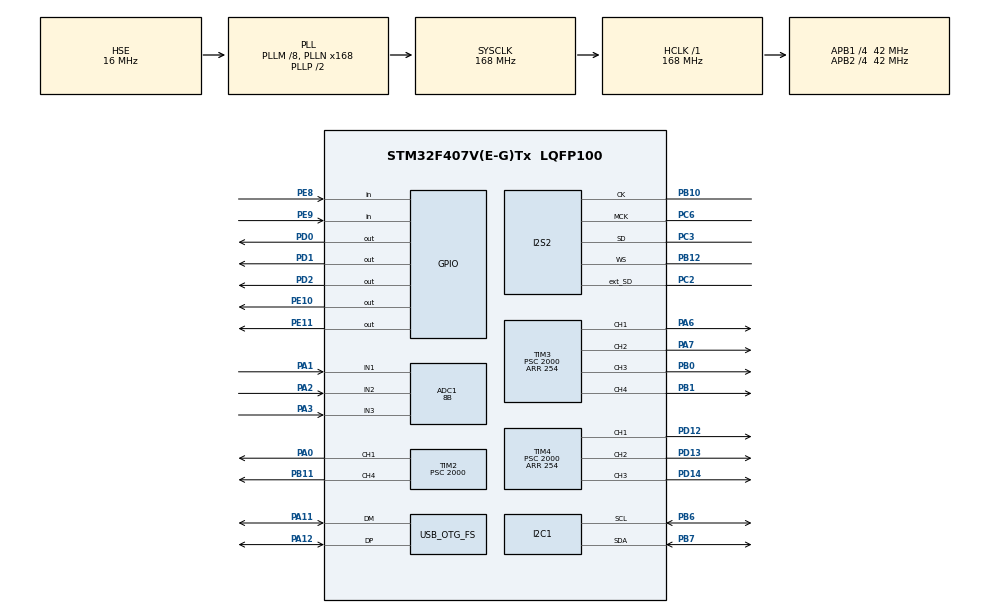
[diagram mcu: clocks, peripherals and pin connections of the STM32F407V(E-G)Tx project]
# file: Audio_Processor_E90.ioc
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ADC1.Channel-4\#ChannelRegularConversion=ADC_CHANNEL_1
ADC1.Channel-5\#ChannelRegularConversion=ADC_CHANNEL_2
ADC1.Channel-6\#ChannelRegularConversion=ADC_CHANNEL_3
ADC1.ContinuousConvMode=ENABLE
ADC1.DMAContinuousRequests=ENABLE
ADC1.NbrOfConversion=3
ADC1.NbrOfConversionFlag=1
ADC1.Rank-4\#ChannelRegularConversion=1
ADC1.Rank-5\#ChannelRegularConversion=2
ADC1.Rank-6\#ChannelRegularConversion=3
ADC1.Resolution=ADC_RESOLUTION_8B
ADC1.SamplingTime-4\#ChannelRegularConversion=ADC_SAMPLETIME_480CYCLES
ADC1.SamplingTime-5\#ChannelRegularConversion=ADC_SAMPLETIME_480CYCLES
ADC1.SamplingTime-6\#ChannelRegularConversion=ADC_SAMPLETIME_480CYCLES
ADC1.ScanConvMode=ENABLE
ADC1.master=1
Dma.ADC1.2.Direction=DMA_PERIPH_TO_MEMORY
Dma.ADC1.2.FIFOMode=DMA_FIFOMODE_DISABLE
Dma.ADC1.2.Instance=DMA2_Stream0
Dma.ADC1.2.MemDataAlignment=DMA_MDATAALIGN_WORD
Dma.ADC1.2.MemInc=DMA_MINC_ENABLE
Dma.ADC1.2.Mode=DMA_CIRCULAR
Dma.ADC1.2.PeriphDataAlignment=DMA_PDATAALIGN_WORD
Dma.ADC1.2.PeriphInc=DMA_PINC_DISABLE
Dma.ADC1.2.Priority=DMA_PRIORITY_LOW
Dma.I2S2_EXT_RX.0.Direction=DMA_PERIPH_TO_MEMORY
Dma.I2S2_EXT_RX.0.FIFOMode=DMA_FIFOMODE_DISABLE
Dma.I2S2_EXT_RX.0.Instance=DMA1_Stream3
Dma.I2S2_EXT_RX.0.MemDataAlignment=DMA_MDATAALIGN_HALFWORD
Dma.I2S2_EXT_RX.0.MemInc=DMA_MINC_ENABLE
Dma.I2S2_EXT_RX.0.Mode=DMA_CIRCULAR
Dma.I2S2_EXT_RX.0.PeriphDataAlignment=DMA_PDATAALIGN_HALFWORD
Dma.I2S2_EXT_RX.0.PeriphInc=DMA_PINC_DISABLE
Dma.I2S2_EXT_RX.0.Priority=DMA_PRIORITY_LOW
Dma.Request0=I2S2_EXT_RX
Dma.Request1=SPI2_TX
Dma.Request2=ADC1
Dma.SPI2_TX.1.Direction=DMA_MEMORY_TO_PERIPH
Dma.SPI2_TX.1.FIFOMode=DMA_FIFOMODE_DISABLE
Dma.SPI2_TX.1.Instance=DMA1_Stream4
Dma.SPI2_TX.1.MemDataAlignment=DMA_MDATAALIGN_HALFWORD
Dma.SPI2_TX.1.MemInc=DMA_MINC_ENABLE
Dma.SPI2_TX.1.Mode=DMA_CIRCULAR
Dma.SPI2_TX.1.PeriphDataAlignment=DMA_PDATAALIGN_HALFWORD
Dma.SPI2_TX.1.PeriphInc=DMA_PINC_DISABLE
Dma.SPI2_TX.1.Priority=DMA_PRIORITY_LOW
I2S2.AudioFreq=I2S_AUDIOFREQ_48K
I2S2.DataFormat=I2S_DATAFORMAT_24B
I2S2.ErrorAudioFreq=-2.34 %
I2S2.FullDuplexMode=I2S_FULLDUPLEXMODE_ENABLE
I2S2.Instance=SPI$Index
I2S2.RealAudioFreq=46.875 KHz
I2S2.VirtualMode=I2S_MODE_MASTER
Mcu.Family=STM32F4
Mcu.Name=STM32F407V(E-G)Tx
Mcu.Package=LQFP100
NVIC.ADC_IRQn=true\:0\:0\:false\:false\:true\:true\:true
NVIC.DMA1_Stream3_IRQn=true\:0\:0\:false\:false\:true\:false\:true
NVIC.DMA1_Stream4_IRQn=true\:0\:0\:false\:false\:true\:false\:true
NVIC.DMA2_Stream0_IRQn=true\:0\:0\:false\:false\:true\:false\:true
NVIC.PriorityGroup=NVIC_PRIORITYGROUP_4
NVIC.SPI2_IRQn=true\:0\:0\:false\:false\:true\:true\:true
PA0-WKUP.Signal=S_TIM2_CH1_ETR
PA1.Signal=ADCx_IN1
PA11.Mode=Device_Only
PA11.Signal=USB_OTG_FS_DM
PA12.Mode=Device_Only
PA12.Signal=USB_OTG_FS_DP
PA13.Mode=Trace_Asynchronous_SW
PA13.Signal=SYS_JTMS-SWDIO
PA14.Mode=Trace_Asynchronous_SW
PA14.Signal=SYS_JTCK-SWCLK
PA2.Signal=ADCx_IN2
PA3.Signal=ADCx_IN3
PA6.Signal=S_TIM3_CH1
PA7.Signal=S_TIM3_CH2
PB0.Signal=S_TIM3_CH3
PB1.Signal=S_TIM3_CH4
PB10.Mode=Full_Duplex_Master
PB10.Signal=I2S2_CK
PB11.Signal=S_TIM2_CH4
PB12.Mode=Full_Duplex_Master
PB12.Signal=I2S2_WS
PB3.Mode=Trace_Asynchronous_SW
PB3.Signal=SYS_JTDO-SWO
PB6.Mode=I2C
PB6.Signal=I2C1_SCL
PB7.Mode=I2C
PB7.Signal=I2C1_SDA
PC2.Mode=Full_Duplex_Master
PC2.Signal=I2S2_ext_SD
PC3.Mode=Full_Duplex_Master
PC3.Signal=I2S2_SD
PC6.Mode=Master_Clock_Activated
PC6.Signal=I2S2_MCK
PD0.Signal=GPIO_Output
PD1.Signal=GPIO_Output
PD12.Signal=S_TIM4_CH1
PD13.Signal=S_TIM4_CH2
PD14.Signal=S_TIM4_CH3
PD2.Signal=GPIO_Output
PE10.Signal=GPIO_Output
PE11.Signal=GPIO_Output
PE8.Signal=GPIO_Input
PE9.Signal=GPIO_Input
PH0-OSC_IN.Mode=HSE-External-Oscillator
PH0-OSC_IN.Signal=RCC_OSC_IN
PH1-OSC_OUT.Mode=HSE-External-Oscillator
PH1-OSC_OUT.Signal=RCC_OSC_OUT
ProjectManager.HeapSize=0x200
ProjectManager.StackSize=0x400
ProjectManager.TargetToolchain=STM32CubeIDE
RCC.48MHZClocksFreq_Value=48000000
RCC.AHBFreq_Value=168000000
RCC.APB1CLKDivider=RCC_HCLK_DIV4
RCC.APB1Freq_Value=42000000
RCC.APB1TimFreq_Value=84000000
RCC.APB2CLKDivider=RCC_HCLK_DIV4
RCC.APB2Freq_Value=42000000
RCC.APB2TimFreq_Value=84000000
RCC.CortexFreq_Value=168000000
RCC.HCLKFreq_Value=168000000
RCC.HSE_VALUE=16000000
RCC.HSI_VALUE=16000000
RCC.LSE_VALUE=32768
RCC.PLLM=8
RCC.PLLN=168
RCC.PLLQ=7
RCC.SYSCLKFreq_VALUE=168000000
RCC.SYSCLKSource=RCC_SYSCLKSOURCE_PLLCLK
RCC.VCOOutputFreq_Value=336000000
SH.ADCx_IN1.0=ADC1_IN1,IN1
SH.ADCx_IN2.0=ADC1_IN2,IN2
SH.ADCx_IN3.0=ADC1_IN3,IN3
SH.S_TIM2_CH1_ETR.0=TIM2_CH1,PWM Generation1 CH1
SH.S_TIM2_CH4.0=TIM2_CH4,PWM Generation4 CH4
SH.S_TIM3_CH1.0=TIM3_CH1,PWM Generation1 CH1
SH.S_TIM3_CH2.0=TIM3_CH2,PWM Generation2 CH2
SH.S_TIM3_CH3.0=TIM3_CH3,PWM Generation3 CH3
SH.S_TIM3_CH4.0=TIM3_CH4,PWM Generation4 CH4
SH.S_TIM4_CH1.0=TIM4_CH1,PWM Generation1 CH1
SH.S_TIM4_CH2.0=TIM4_CH2,PWM Generation2 CH2
SH.S_TIM4_CH3.0=TIM4_CH3,PWM Generation3 CH3
TIM2.Channel-PWM\ Generation1\ CH1=TIM_CHANNEL_1
TIM2.Channel-PWM\ Generation4\ CH4=TIM_CHANNEL_4
TIM2.Period=254
TIM2.Prescaler=2000
TIM3.Channel-PWM\ Generation1\ CH1=TIM_CHANNEL_1
TIM3.Channel-PWM\ Generation2\ CH2=TIM_CHANNEL_2
TIM3.Channel-PWM\ Generation3\ CH3=TIM_CHANNEL_3
TIM3.Channel-PWM\ Generation4\ CH4=TIM_CHANNEL_4
TIM3.Period=254
TIM3.Prescaler=2000
TIM4.Channel-PWM\ Generation1\ CH1=TIM_CHANNEL_1
TIM4.Channel-PWM\ Generation2\ CH2=TIM_CHANNEL_2
TIM4.Channel-PWM\ Generation3\ CH3=TIM_CHANNEL_3
TIM4.Period=254
TIM4.Prescaler=2000
USB_OTG_FS.VirtualMode=Device_Only
board=custom

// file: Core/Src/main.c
/* USER CODE BEGIN Header */
/**
  ******************************************************************************
  * @file           : main.c
  * @brief          : Main program body
  ******************************************************************************
  * @attention
  *
  * <h2><center>&copy; Copyright (c) 2021 STMicroelectronics.
  * All rights reserved.</center></h2>
  *
  * This software component is licensed by ST under BSD 3-Clause license,
  * the "License"; You may not use this file except in compliance with the
  * License. You may obtain a copy of the License at:
  *                        opensource.org/licenses/BSD-3-Clause
  *
  ******************************************************************************
  */
/* USER CODE END Header */

#include "main.h"

/* USER CODE BEGIN Includes */
#include "audio_process.h"

/* USER CODE END Includes */

ADC_HandleTypeDef hadc1;
DMA_HandleTypeDef hdma_adc1;

I2C_HandleTypeDef hi2c1;

I2S_HandleTypeDef hi2s2;
DMA_HandleTypeDef hdma_i2s2_ext_rx;
DMA_HandleTypeDef hdma_spi2_tx;

TIM_HandleTypeDef htim2;
TIM_HandleTypeDef htim3;
TIM_HandleTypeDef htim4;

PCD_HandleTypeDef hpcd_USB_OTG_FS;

/* USER CODE BEGIN PV */

// global double buffer arrays
uint16_t rx_buf[4];
uint16_t tx_buf[4];
// samples for processing
int in_sample, out_sample;

//ADC pot values
uint32_t adc_buf[3], POT_1, POT_2, POT_3;
volatile int i;

char delay[127664];

/* USER CODE END PV */

void SystemClock_Config(void);
static void MX_GPIO_Init(void);
static void MX_DMA_Init(void);
static void MX_ADC1_Init(void);
static void MX_I2C1_Init(void);
static void MX_I2S2_Init(void);
static void MX_TIM2_Init(void);
static void MX_TIM3_Init(void);
static void MX_TIM4_Init(void);
static void MX_USB_OTG_FS_PCD_Init(void);

int main(void)
{

  /* MCU Configuration--------------------------------------------------------*/

  /* Reset of all peripherals, Initializes the Flash interface and the Systick. */
  HAL_Init();

  /* Configure the system clock */
  SystemClock_Config();

  /* Initialize all configured peripherals */
  MX_GPIO_Init();
  MX_DMA_Init();
  MX_ADC1_Init();
  MX_I2C1_Init();
  MX_I2S2_Init();
  MX_TIM2_Init();
  MX_TIM3_Init();
  MX_TIM4_Init();
  MX_USB_OTG_FS_PCD_Init();
  /* USER CODE BEGIN 2 */

  //AUDIO process initializations
  process_init();

  HAL_ADC_Start_DMA(&hadc1, adc_buf, 3); //Start ADC1 and DMA transfers for Pot values
  HAL_I2SEx_TransmitReceive_DMA(&hi2s2, tx_buf, rx_buf, 2); //Start audio double buffer DMA transfers

  /* USER CODE END 2 */

  /* Infinite loop */
  while (1)
  {

  }
}

void SystemClock_Config(void)
{
  RCC_OscInitTypeDef RCC_OscInitStruct = {0};
  RCC_ClkInitTypeDef RCC_ClkInitStruct = {0};
  RCC_PeriphCLKInitTypeDef PeriphClkInitStruct = {0};

  /** Configure the main internal regulator output voltage
  */
  __HAL_RCC_PWR_CLK_ENABLE();
  __HAL_PWR_VOLTAGESCALING_CONFIG(PWR_REGULATOR_VOLTAGE_SCALE1);
  /** Initializes the CPU, AHB and APB busses clocks
  */
  RCC_OscInitStruct.OscillatorType = RCC_OSCILLATORTYPE_HSE;
  RCC_OscInitStruct.HSEState = RCC_HSE_ON;
  RCC_OscInitStruct.PLL.PLLState = RCC_PLL_ON;
  RCC_OscInitStruct.PLL.PLLSource = RCC_PLLSOURCE_HSE;
  RCC_OscInitStruct.PLL.PLLM = 8;
  RCC_OscInitStruct.PLL.PLLN = 168;
  RCC_OscInitStruct.PLL.PLLP = RCC_PLLP_DIV2;
  RCC_OscInitStruct.PLL.PLLQ = 7;
  if (HAL_RCC_OscConfig(&RCC_OscInitStruct) != HAL_OK)
  {
    Error_Handler();
  }
  /** Initializes the CPU, AHB and APB busses clocks
  */
  RCC_ClkInitStruct.ClockType = RCC_CLOCKTYPE_HCLK|RCC_CLOCKTYPE_SYSCLK
                              |RCC_CLOCKTYPE_PCLK1|RCC_CLOCKTYPE_PCLK2;
  RCC_ClkInitStruct.SYSCLKSource = RCC_SYSCLKSOURCE_PLLCLK;
  RCC_ClkInitStruct.AHBCLKDivider = RCC_SYSCLK_DIV1;
  RCC_ClkInitStruct.APB1CLKDivider = RCC_HCLK_DIV4;
  RCC_ClkInitStruct.APB2CLKDivider = RCC_HCLK_DIV4;

  if (HAL_RCC_ClockConfig(&RCC_ClkInitStruct, FLASH_LATENCY_5) != HAL_OK)
  {
    Error_Handler();
  }
  PeriphClkInitStruct.PeriphClockSelection = RCC_PERIPHCLK_I2S;
  PeriphClkInitStruct.PLLI2S.PLLI2SN = 192;
  PeriphClkInitStruct.PLLI2S.PLLI2SR = 2;
  if (HAL_RCCEx_PeriphCLKConfig(&PeriphClkInitStruct) != HAL_OK)
  {
    Error_Handler();
  }
}

static void MX_ADC1_Init(void)
{

  ADC_ChannelConfTypeDef sConfig = {0};

  /** Configure the global features of the ADC (Clock, Resolution, Data Alignment and number of conversion)
  */
  hadc1.Instance = ADC1;
  hadc1.Init.ClockPrescaler = ADC_CLOCK_SYNC_PCLK_DIV2;
  hadc1.Init.Resolution = ADC_RESOLUTION_8B;
  hadc1.Init.ScanConvMode = ENABLE;
  hadc1.Init.ContinuousConvMode = ENABLE;
  hadc1.Init.DiscontinuousConvMode = DISABLE;
  hadc1.Init.ExternalTrigConvEdge = ADC_EXTERNALTRIGCONVEDGE_NONE;
  hadc1.Init.ExternalTrigConv = ADC_SOFTWARE_START;
  hadc1.Init.DataAlign = ADC_DATAALIGN_RIGHT;
  hadc1.Init.NbrOfConversion = 3;
  hadc1.Init.DMAContinuousRequests = ENABLE;
  hadc1.Init.EOCSelection = ADC_EOC_SINGLE_CONV;
  if (HAL_ADC_Init(&hadc1) != HAL_OK)
  {
    Error_Handler();
  }
  /** Configure for the selected ADC regular channel its corresponding rank in the sequencer and its sample time.
  */
  sConfig.Channel = ADC_CHANNEL_1;
  sConfig.Rank = 1;
  sConfig.SamplingTime = ADC_SAMPLETIME_480CYCLES;
  if (HAL_ADC_ConfigChannel(&hadc1, &sConfig) != HAL_OK)
  {
    Error_Handler();
  }
  /** Configure for the selected ADC regular channel its corresponding rank in the sequencer and its sample time.
  */
  sConfig.Channel = ADC_CHANNEL_2;
  sConfig.Rank = 2;
  if (HAL_ADC_ConfigChannel(&hadc1, &sConfig) != HAL_OK)
  {
    Error_Handler();
  }
  /** Configure for the selected ADC regular channel its corresponding rank in the sequencer and its sample time.
  */
  sConfig.Channel = ADC_CHANNEL_3;
  sConfig.Rank = 3;
  if (HAL_ADC_ConfigChannel(&hadc1, &sConfig) != HAL_OK)
  {
    Error_Handler();
  }

}

static void MX_I2C1_Init(void)
{

  hi2c1.Instance = I2C1;
  hi2c1.Init.ClockSpeed = 100000;
  hi2c1.Init.DutyCycle = I2C_DUTYCYCLE_2;
  hi2c1.Init.OwnAddress1 = 0;
  hi2c1.Init.AddressingMode = I2C_ADDRESSINGMODE_7BIT;
  hi2c1.Init.DualAddressMode = I2C_DUALADDRESS_DISABLE;
  hi2c1.Init.OwnAddress2 = 0;
  hi2c1.Init.GeneralCallMode = I2C_GENERALCALL_DISABLE;
  hi2c1.Init.NoStretchMode = I2C_NOSTRETCH_DISABLE;
  if (HAL_I2C_Init(&hi2c1) != HAL_OK)
  {
    Error_Handler();
  }

}

static void MX_I2S2_Init(void)
{

  hi2s2.Instance = SPI2;
  hi2s2.Init.Mode = I2S_MODE_MASTER_TX;
  hi2s2.Init.Standard = I2S_STANDARD_PHILIPS;
  hi2s2.Init.DataFormat = I2S_DATAFORMAT_24B;
  hi2s2.Init.MCLKOutput = I2S_MCLKOUTPUT_ENABLE;
  hi2s2.Init.AudioFreq = I2S_AUDIOFREQ_48K;
  hi2s2.Init.CPOL = I2S_CPOL_LOW;
  hi2s2.Init.ClockSource = I2S_CLOCK_PLL;
  hi2s2.Init.FullDuplexMode = I2S_FULLDUPLEXMODE_ENABLE;
  if (HAL_I2S_Init(&hi2s2) != HAL_OK)
  {
    Error_Handler();
  }

}

static void MX_TIM2_Init(void)
{

  TIM_MasterConfigTypeDef sMasterConfig = {0};
  TIM_OC_InitTypeDef sConfigOC = {0};

  htim2.Instance = TIM2;
  htim2.Init.Prescaler = 2000;
  htim2.Init.CounterMode = TIM_COUNTERMODE_UP;
  htim2.Init.Period = 254;
  htim2.Init.ClockDivision = TIM_CLOCKDIVISION_DIV1;
  htim2.Init.AutoReloadPreload = TIM_AUTORELOAD_PRELOAD_DISABLE;
  if (HAL_TIM_PWM_Init(&htim2) != HAL_OK)
  {
    Error_Handler();
  }
  sMasterConfig.MasterOutputTrigger = TIM_TRGO_RESET;
  sMasterConfig.MasterSlaveMode = TIM_MASTERSLAVEMODE_DISABLE;
  if (HAL_TIMEx_MasterConfigSynchronization(&htim2, &sMasterConfig) != HAL_OK)
  {
    Error_Handler();
  }
  sConfigOC.OCMode = TIM_OCMODE_PWM1;
  sConfigOC.Pulse = 0;
  sConfigOC.OCPolarity = TIM_OCPOLARITY_HIGH;
  sConfigOC.OCFastMode = TIM_OCFAST_DISABLE;
  if (HAL_TIM_PWM_ConfigChannel(&htim2, &sConfigOC, TIM_CHANNEL_1) != HAL_OK)
  {
    Error_Handler();
  }
  if (HAL_TIM_PWM_ConfigChannel(&htim2, &sConfigOC, TIM_CHANNEL_4) != HAL_OK)
  {
    Error_Handler();
  }
  HAL_TIM_MspPostInit(&htim2);

}

static void MX_TIM3_Init(void)
{

  TIM_MasterConfigTypeDef sMasterConfig = {0};
  TIM_OC_InitTypeDef sConfigOC = {0};

  htim3.Instance = TIM3;
  htim3.Init.Prescaler = 2000;
  htim3.Init.CounterMode = TIM_COUNTERMODE_UP;
  htim3.Init.Period = 254;
  htim3.Init.ClockDivision = TIM_CLOCKDIVISION_DIV1;
  htim3.Init.AutoReloadPreload = TIM_AUTORELOAD_PRELOAD_DISABLE;
  if (HAL_TIM_PWM_Init(&htim3) != HAL_OK)
  {
    Error_Handler();
  }
  sMasterConfig.MasterOutputTrigger = TIM_TRGO_RESET;
  sMasterConfig.MasterSlaveMode = TIM_MASTERSLAVEMODE_DISABLE;
  if (HAL_TIMEx_MasterConfigSynchronization(&htim3, &sMasterConfig) != HAL_OK)
  {
    Error_Handler();
  }
  sConfigOC.OCMode = TIM_OCMODE_PWM1;
  sConfigOC.Pulse = 0;
  sConfigOC.OCPolarity = TIM_OCPOLARITY_HIGH;
  sConfigOC.OCFastMode = TIM_OCFAST_DISABLE;
  if (HAL_TIM_PWM_ConfigChannel(&htim3, &sConfigOC, TIM_CHANNEL_1) != HAL_OK)
  {
    Error_Handler();
  }
  if (HAL_TIM_PWM_ConfigChannel(&htim3, &sConfigOC, TIM_CHANNEL_2) != HAL_OK)
  {
    Error_Handler();
  }
  if (HAL_TIM_PWM_ConfigChannel(&htim3, &sConfigOC, TIM_CHANNEL_3) != HAL_OK)
  {
    Error_Handler();
  }
  if (HAL_TIM_PWM_ConfigChannel(&htim3, &sConfigOC, TIM_CHANNEL_4) != HAL_OK)
  {
    Error_Handler();
  }
  HAL_TIM_MspPostInit(&htim3);

}

static void MX_TIM4_Init(void)
{

  TIM_MasterConfigTypeDef sMasterConfig = {0};
  TIM_OC_InitTypeDef sConfigOC = {0};

  htim4.Instance = TIM4;
  htim4.Init.Prescaler = 2000;
  htim4.Init.CounterMode = TIM_COUNTERMODE_UP;
  htim4.Init.Period = 254;
  htim4.Init.ClockDivision = TIM_CLOCKDIVISION_DIV1;
  htim4.Init.AutoReloadPreload = TIM_AUTORELOAD_PRELOAD_DISABLE;
  if (HAL_TIM_PWM_Init(&htim4) != HAL_OK)
  {
    Error_Handler();
  }
  sMasterConfig.MasterOutputTrigger = TIM_TRGO_RESET;
  sMasterConfig.MasterSlaveMode = TIM_MASTERSLAVEMODE_DISABLE;
  if (HAL_TIMEx_MasterConfigSynchronization(&htim4, &sMasterConfig) != HAL_OK)
  {
    Error_Handler();
  }
  sConfigOC.OCMode = TIM_OCMODE_PWM1;
  sConfigOC.Pulse = 0;
  sConfigOC.OCPolarity = TIM_OCPOLARITY_HIGH;
  sConfigOC.OCFastMode = TIM_OCFAST_DISABLE;
  if (HAL_TIM_PWM_ConfigChannel(&htim4, &sConfigOC, TIM_CHANNEL_1) != HAL_OK)
  {
    Error_Handler();
  }
  if (HAL_TIM_PWM_ConfigChannel(&htim4, &sConfigOC, TIM_CHANNEL_2) != HAL_OK)
  {
    Error_Handler();
  }
  if (HAL_TIM_PWM_ConfigChannel(&htim4, &sConfigOC, TIM_CHANNEL_3) != HAL_OK)
  {
    Error_Handler();
  }
  HAL_TIM_MspPostInit(&htim4);

}

static void MX_USB_OTG_FS_PCD_Init(void)
{

  hpcd_USB_OTG_FS.Instance = USB_OTG_FS;
  hpcd_USB_OTG_FS.Init.dev_endpoints = 4;
  hpcd_USB_OTG_FS.Init.speed = PCD_SPEED_FULL;
  hpcd_USB_OTG_FS.Init.dma_enable = DISABLE;
  hpcd_USB_OTG_FS.Init.phy_itface = PCD_PHY_EMBEDDED;
  hpcd_USB_OTG_FS.Init.Sof_enable = DISABLE;
  hpcd_USB_OTG_FS.Init.low_power_enable = DISABLE;
  hpcd_USB_OTG_FS.Init.lpm_enable = DISABLE;
  hpcd_USB_OTG_FS.Init.vbus_sensing_enable = DISABLE;
  hpcd_USB_OTG_FS.Init.use_dedicated_ep1 = DISABLE;
  if (HAL_PCD_Init(&hpcd_USB_OTG_FS) != HAL_OK)
  {
    Error_Handler();
  }

}

static void MX_DMA_Init(void)
{

  /* DMA controller clock enable */
  __HAL_RCC_DMA1_CLK_ENABLE();
  __HAL_RCC_DMA2_CLK_ENABLE();

  /* DMA interrupt init */
  /* DMA1_Stream3_IRQn interrupt configuration */
  HAL_NVIC_SetPriority(DMA1_Stream3_IRQn, 0, 0);
  HAL_NVIC_EnableIRQ(DMA1_Stream3_IRQn);
  /* DMA1_Stream4_IRQn interrupt configuration */
  HAL_NVIC_SetPriority(DMA1_Stream4_IRQn, 0, 0);
  HAL_NVIC_EnableIRQ(DMA1_Stream4_IRQn);
  /* DMA2_Stream0_IRQn interrupt configuration */
  HAL_NVIC_SetPriority(DMA2_Stream0_IRQn, 0, 0);
  HAL_NVIC_EnableIRQ(DMA2_Stream0_IRQn);

}

static void MX_GPIO_Init(void)
{
  GPIO_InitTypeDef GPIO_InitStruct = {0};

  /* GPIO Ports Clock Enable */
  __HAL_RCC_GPIOH_CLK_ENABLE();
  __HAL_RCC_GPIOC_CLK_ENABLE();
  __HAL_RCC_GPIOA_CLK_ENABLE();
  __HAL_RCC_GPIOB_CLK_ENABLE();
  __HAL_RCC_GPIOE_CLK_ENABLE();
  __HAL_RCC_GPIOD_CLK_ENABLE();

  /*Configure GPIO pin Output Level */
  HAL_GPIO_WritePin(GPIOE, GPIO_PIN_10|GPIO_PIN_11, GPIO_PIN_RESET);

  /*Configure GPIO pin Output Level */
  HAL_GPIO_WritePin(GPIOD, GPIO_PIN_0|GPIO_PIN_1|GPIO_PIN_2, GPIO_PIN_RESET);

  /*Configure GPIO pins : PE8 PE9 */
  GPIO_InitStruct.Pin = GPIO_PIN_8|GPIO_PIN_9;
  GPIO_InitStruct.Mode = GPIO_MODE_INPUT;
  GPIO_InitStruct.Pull = GPIO_NOPULL;
  HAL_GPIO_Init(GPIOE, &GPIO_InitStruct);

  /*Configure GPIO pins : PE10 PE11 */
  GPIO_InitStruct.Pin = GPIO_PIN_10|GPIO_PIN_11;
  GPIO_InitStruct.Mode = GPIO_MODE_OUTPUT_PP;
  GPIO_InitStruct.Pull = GPIO_NOPULL;
  GPIO_InitStruct.Speed = GPIO_SPEED_FREQ_LOW;
  HAL_GPIO_Init(GPIOE, &GPIO_InitStruct);

  /*Configure GPIO pins : PD0 PD1 PD2 */
  GPIO_InitStruct.Pin = GPIO_PIN_0|GPIO_PIN_1|GPIO_PIN_2;
  GPIO_InitStruct.Mode = GPIO_MODE_OUTPUT_PP;
  GPIO_InitStruct.Pull = GPIO_NOPULL;
  GPIO_InitStruct.Speed = GPIO_SPEED_FREQ_LOW;
  HAL_GPIO_Init(GPIOD, &GPIO_InitStruct);

}

/* USER CODE BEGIN 4 */

void HAL_ADC_ConvCpltCallback(ADC_HandleTypeDef* hadc) {

  //compensate for incorrect pot orientation
  POT_1 = 255 - adc_buf[0];
  POT_2 = 255 - adc_buf[1];
  POT_3 = 255 - adc_buf[2];

}

//I2S RX line DMA transfer half complete callback
void HAL_I2SEx_TxRxHalfCpltCallback(I2S_HandleTypeDef *hi2s)
{
  //retrieve sample from rx_buf
  in_sample  = (((int)rx_buf[0]<<16)|rx_buf[1])>>8;

  // do audio processing
  process(&in_sample, &out_sample);

  //place processed sample into tx_buf
  tx_buf[0] = (out_sample>>8) & 0xFFFF;
  tx_buf[1] = out_sample & 0xFFFF;

}

//I2S RX line DMA transfer complete callback
void HAL_I2SEx_TxRxCpltCallback(I2S_HandleTypeDef *hi2s)
{
  //retrieve sample from rx_buf
  in_sample  = (((int)rx_buf[2]<<16)|rx_buf[3])>>8;

  // does audio processing
  process(&in_sample, &out_sample);

  //place processed sample into tx_buf
  tx_buf[2] = (out_sample>>8) & 0xFFFF;
  tx_buf[3] = out_sample & 0xFFFF;

}

/* USER CODE END 4 */

void Error_Handler(void)
{
}

/************************ (C) COPYRIGHT STMicroelectronics *****END OF FILE****/
